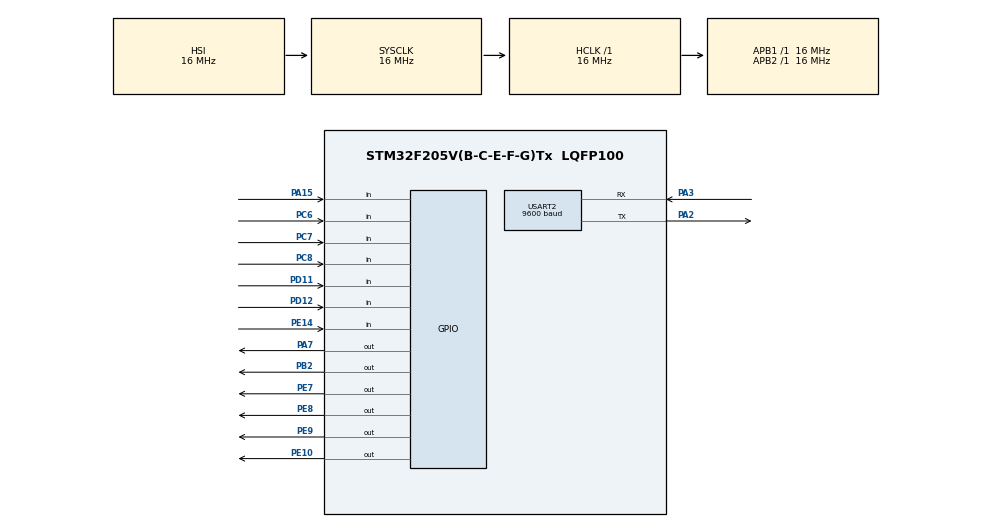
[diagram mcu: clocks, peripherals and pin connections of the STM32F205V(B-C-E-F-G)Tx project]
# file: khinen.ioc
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Mcu.Family=STM32F2
Mcu.Name=STM32F205V(B-C-E-F-G)Tx
Mcu.Package=LQFP100
NVIC.PriorityGroup=NVIC_PRIORITYGROUP_4
PA13.Mode=Serial_Wire
PA13.Signal=SYS_JTMS-SWDIO
PA14.Mode=Serial_Wire
PA14.Signal=SYS_JTCK-SWCLK
PA15.Signal=GPIO_Input
PA2.Mode=Asynchronous
PA2.Signal=USART2_TX
PA3.Mode=Asynchronous
PA3.Signal=USART2_RX
PA7.Signal=GPIO_Output
PB2.Signal=GPIO_Output
PC6.Signal=GPIO_Input
PC7.Signal=GPIO_Input
PC8.Signal=GPIO_Input
PD11.GPIO_PuPd=GPIO_PULLUP
PD11.Signal=GPIO_Input
PD12.Signal=GPIO_Input
PE10.GPIO_PuPd=GPIO_NOPULL
PE10.Signal=GPIO_Output
PE14.Signal=GPIO_Input
PE7.GPIO_PuPd=GPIO_NOPULL
PE7.Signal=GPIO_Output
PE8.GPIO_PuPd=GPIO_NOPULL
PE8.Signal=GPIO_Output
PE9.GPIO_PuPd=GPIO_NOPULL
PE9.Signal=GPIO_Output
ProjectManager.HeapSize=0x200
ProjectManager.StackSize=0x400
ProjectManager.TargetToolchain=MDK-ARM V5.32
RCC.48MHZClocksFreq_Value=48000000
RCC.AHBFreq_Value=16000000
RCC.APB1Freq_Value=16000000
RCC.APB2Freq_Value=16000000
RCC.CortexFreq_Value=16000000
RCC.HSE_VALUE=25000000
RCC.HSI_VALUE=16000000
RCC.LSE_VALUE=32768
RCC.SYSCLKFreq_VALUE=16000000
RCC.VCOOutputFreq_Value=192000000
USART2.BaudRate=9600
USART2.VirtualMode=VM_ASYNC
board=custom

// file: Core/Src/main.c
 /* USER CODE BEGIN Header */
/**
  ******************************************************************************
  * @file           : main.c
  * @brief          : Main program body
  ******************************************************************************
  * @attention
  *
  * Copyright (c) 2024 STMicroelectronics.
  * All rights reserved.
  *
  * This software is licensed under terms that can be found in the LICENSE file
  * in the root directory of this software component.
  * If no LICENSE file comes with this software, it is provided AS-IS.
  *
  ******************************************************************************
  */
/* USER CODE END Header */
#include "main.h"

/* USER CODE BEGIN Includes */
#include <stdio.h>
/* USER CODE END Includes */

UART_HandleTypeDef huart2;

void SystemClock_Config(void);
static void MX_GPIO_Init(void);
static void MX_USART2_UART_Init(void);

/* USER CODE BEGIN 0 */
uint8_t  State4 = 0,S3_check = 0, S4_check = 0,S1=1,S2=1,S3=1,S4=1,S5=0,dem=0,S1_check=0,S2_check=0,StateS1=0,StateS2=0,S5_check=0,S6_check=0;
uint16_t t=100,count=0,time=0,count1=0,count2=0,count3=0,time1=0,count4=0;
uint8_t State5=0,State6=0,k=0,State=0,State7=0;
char z[5];
void TIM1_Configuration(void) {
    // Enable TIM1 clock
    RCC->APB2ENR |= RCC_APB2ENR_TIM1EN;
    // Configure PSC (Prescaler)
    TIM1->PSC = 7;

    // Configure ARR (Auto-Reload Register)
    TIM1->ARR = 999;

    // Enable Update Interrupt
    TIM1->DIER |= TIM_DIER_UIE;

    // Enable TIM1 interrupt in NVIC
    NVIC_EnableIRQ(TIM1_UP_TIM10_IRQn);

    // Enable TIM1 counter
    TIM1->CR1 |= TIM_CR1_CEN;
}
volatile uint8_t i=0;
volatile	uint8_t x=10,y=10;
 	uint8_t dataread[10],dataread1[10];
	void sendchar(char data)
	{
	while((USART2 ->SR & (1<<6))==0 ){}
		USART2->DR = data;
	}
	void send_string(char *str)
	{
		while(*str)
		 sendchar(*str++);
	}

// Kh?i t?o UART2
uint8_t State3=0,State2=0,State1=0;
void TIM1_UP_TIM10_IRQHandler(void)
	{
    // Your TIM1 interrupt handler code here

    TIM1->SR &= ~TIM_SR_UIF;
		S1 = HAL_GPIO_ReadPin(GPIOB, GPIO_PIN_5);
	S2 = HAL_GPIO_ReadPin(GPIOB, GPIO_PIN_4);
	S3 = HAL_GPIO_ReadPin(GPIOB, GPIO_PIN_3);
	S4 = HAL_GPIO_ReadPin(GPIOD, GPIO_PIN_7);
	S5 = HAL_GPIO_ReadPin(GPIOD, GPIO_PIN_13);
	S1_check = HAL_GPIO_ReadPin(GPIOA, GPIO_PIN_15);
	S2_check = HAL_GPIO_ReadPin(GPIOC, GPIO_PIN_8);
	S3_check = HAL_GPIO_ReadPin(GPIOD, GPIO_PIN_11);
	S4_check = HAL_GPIO_ReadPin(GPIOC, GPIO_PIN_6);
	S5_check = HAL_GPIO_ReadPin(GPIOC, GPIO_PIN_7);
	S6_check = HAL_GPIO_ReadPin(GPIOE, GPIO_PIN_14);
		if ((State3 == 0) && (S3_check == 0))
				State3 = 1;
	if ((State3 == 1) && (S3_check != 0))
				State3 = 2;
	if(k==2)
		{
			if ((State3 == 0) && (S3_check == 0))
				State3 = 1;
	if ((State3 == 1) && (S3_check != 0))
				State3 = 2;
	if ((State3 == 2) && (S3_check == 0))
				State3 = 3;
	if ((State3 == 3) && (S3_check != 0))
				State3 = 0;

	if ((State4 == 0) && (S4_check == 0))
				State4 = 1;
	if ((State4 == 1) && (S4_check != 0))
				State4 = 2;
	if ((State4 == 2) && (S4_check == 0))
				State4 = 3;
	if ((State4 == 3) && (S4_check != 0))
				State4 = 0;

	if ((State5 == 0) && (S5_check == 0))
				State5 = 1;
	if ((State5 == 1) && (S5_check != 0))
				State5 = 2;
	if ((State5 == 2) && (S5_check == 0))
				State5 = 3;
	if ((State5 == 3) && (S5_check != 0))
				State5 = 0;

	if ((State6 == 0) && (S6_check == 0))
				State6 = 1;
	if ((State6 == 1) && (S6_check != 0))
				State6 = 0;

		}
if(State==1)
		{
			count2++;
	if (count2>1000)
		{
		HAL_GPIO_TogglePin(GPIOA,GPIO_PIN_7);
			count2=0;
		}
		}
		if (State==2)
			{
		count4++;
	if(count4>=500)
{
	HAL_GPIO_TogglePin(GPIOA,GPIO_PIN_7);
	HAL_GPIO_TogglePin(GPIOB,GPIO_PIN_2);
	count4=0;
}
		}

	if(k==1)
if(HAL_GPIO_ReadPin(GPIOC, GPIO_PIN_6)==0)
	 {
		 TIM3->CR1 &= ~TIM_CR1_CEN;
		HAL_GPIO_WritePin(GPIOE,GPIO_PIN_7,0);
	  HAL_GPIO_WritePin(GPIOE,GPIO_PIN_8,1);
	  HAL_GPIO_WritePin(GPIOE,GPIO_PIN_9,0);
	  HAL_GPIO_WritePin(GPIOE,GPIO_PIN_10,1);
		 State3=0;
		 State2=0;
		 State1=0;
		 dem=0;
		 State7=0;

	 }
	 if(k==1)
if(State3==9)
	 {
		 TIM3->CR1 &= ~TIM_CR1_CEN;
		HAL_GPIO_WritePin(GPIOE,GPIO_PIN_7,0);
	  HAL_GPIO_WritePin(GPIOE,GPIO_PIN_8,1);
	  HAL_GPIO_WritePin(GPIOE,GPIO_PIN_9,0);
	  HAL_GPIO_WritePin(GPIOE,GPIO_PIN_10,1);
		 State3=0;
		 State2=0;
		 State1=0;
		 State=0;
		 dem=0;
		 State7=0;

	 }

}
	void TIM3_Configuration(void) {
    // Enable TIM3 clock
    RCC->APB1ENR |= RCC_APB1ENR_TIM3EN;

    // Configure PSC (Prescaler)
    TIM3->PSC = 15;

    // Configure ARR (Auto-Reload Register)
    TIM3->ARR = 999;

    // Enable Update Interrupt
    TIM3->DIER |= TIM_DIER_UIE;

    // Enable TIM3 interrupt in NVIC
    NVIC_EnableIRQ(TIM3_IRQn);

    // Enable TIM3 counter
    TIM3->CR1 |= TIM_CR1_CEN;
}

void TIM3_IRQHandler(void) {
    // Your TIM3 interrupt handler code here

    TIM3->SR &= ~TIM_SR_UIF;
	//////////bai10
	if(State3==2)
		{
			count++;
	if (count>=2000)
	{
		HAL_GPIO_WritePin(GPIOE,GPIO_PIN_7,0);

		HAL_GPIO_WritePin(GPIOE,GPIO_PIN_8,1);

		State3=3;
		count=0;
		TIM3->CR1 &= ~TIM_CR1_CEN;

	}
	}
		if(State3==3)
		{
			count++;
	if (count>=2000)
	{
		HAL_GPIO_WritePin(GPIOE,GPIO_PIN_9,0);
		HAL_GPIO_WritePin(GPIOE,GPIO_PIN_10,1);

		State3=4;
		count=0;
		TIM3->CR1 &= ~TIM_CR1_CEN;

	}
	}
	if(State3==5)
		{
	count1++;
	if (count1==1000)
HAL_GPIO_WritePin(GPIOE,GPIO_PIN_7,1);
	if (count1==1500)
	{

		HAL_GPIO_WritePin(GPIOE,GPIO_PIN_8,1);
		HAL_GPIO_WritePin(GPIOE,GPIO_PIN_9,0);
		HAL_GPIO_WritePin(GPIOE,GPIO_PIN_10,1);

	}
	if(count1>=2000)
{
	HAL_GPIO_WritePin(GPIOE,GPIO_PIN_7,0);
	dem++;
		sprintf(z, "%d", dem);
        send_string(z);
				send_string(".");
		State3=2;
		State1=0;
		count1=0;
		State2=0;
		TIM3->CR1 &= ~TIM_CR1_CEN;
}

		}
	//////////bai10
	//////////////bai3
//	if(State3==2)
//		{
//			count++;
//	if (count>=2000)
//	{
//		HAL_GPIO_WritePin(GPIOE,GPIO_PIN_7,0);
//
//		HAL_GPIO_WritePin(GPIOE,GPIO_PIN_8,1);
//
//		State3=3;
//		count=0;
//		TIM3->CR1 &= ~TIM_CR1_CEN;
//
//	}
//	}
//		if(State3==3)
//		{
//			count++;
//	if (count>=2000)
//	{
//		HAL_GPIO_WritePin(GPIOE,GPIO_PIN_9,0);
//		HAL_GPIO_WritePin(GPIOE,GPIO_PIN_10,1);
//
//		State3=4;
//		count=0;
//		TIM3->CR1 &= ~TIM_CR1_CEN;
//
//	}
//	}
//	if(State3==5)
//		{
//	count1++;
//	if (count1==1000)
//HAL_GPIO_WritePin(GPIOE,GPIO_PIN_7,1);
//	if (count1==1500)
//	{
//
//		HAL_GPIO_WritePin(GPIOE,GPIO_PIN_8,1);
//		HAL_GPIO_WritePin(GPIOE,GPIO_PIN_9,0);
//		HAL_GPIO_WritePin(GPIOE,GPIO_PIN_10,1);
//
//
//	}
//	if(count1>=2000)
//{
//	HAL_GPIO_WritePin(GPIOE,GPIO_PIN_7,0);
//	dem++;
//		sprintf(z, "%d", dem);
//        send_string(z);
//				send_string(".");
//		State3=2;
//		State1=0;
//		count1=0;
//		State2=0;
//		TIM3->CR1 &= ~TIM_CR1_CEN;
//}
//
//		}
//////////bai3

	//////////////bai1
//    count++;
//	if (count>=2000)
//	{
//		HAL_GPIO_WritePin(GPIOE,GPIO_PIN_7,0);
//
//		HAL_GPIO_WritePin(GPIOE,GPIO_PIN_8,1);
//
//		HAL_GPIO_WritePin(GPIOE,GPIO_PIN_9,0);
//		HAL_GPIO_WritePin(GPIOE,GPIO_PIN_10,1);
//		State3=3;
//		count=0;
//		TIM3->CR1 &= ~TIM_CR1_CEN;
//
//	}
//	if(State3==4)
//		{
//	count1++;
//
//	if (count1>=2000)
//	{
//		HAL_GPIO_WritePin(GPIOE,GPIO_PIN_7,0);
//		HAL_GPIO_WritePin(GPIOE,GPIO_PIN_8,1);
//		HAL_GPIO_WritePin(GPIOE,GPIO_PIN_9,0);
//		HAL_GPIO_WritePin(GPIOE,GPIO_PIN_10,1);
//		dem++;
//		sprintf(z, "%d", dem);
//        send_string(z);
//				send_string(".");
//		State3=0;
//		State1=0;
//		count1=0;
//		State2=0;
//		TIM3->CR1 &= ~TIM_CR1_CEN;
//
//	}
//		}
		//////////bai1
}
void TIM2_Configuration(void) {
    // Enable TIM2 clock
    RCC->APB1ENR |= RCC_APB1ENR_TIM2EN;

    // Configure PSC (Prescaler)
    TIM2->PSC = 15;

    // Configure ARR (Auto-Reload Register)
    TIM2->ARR = 999;

    // Enable Update Interrupt
    TIM2->DIER |= TIM_DIER_UIE;

    // Enable TIM2 interrupt in NVIC
    NVIC_EnableIRQ(TIM2_IRQn);

    // Enable TIM2 counter
    TIM2->CR1 |= TIM_CR1_CEN;
}
void TIM2_IRQHandler(void) {

    TIM2->SR &= ~TIM_SR_UIF;
	count3++;

	if(count3==time)
		{
			State7=1;
			State=2;
			HAL_GPIO_WritePin(GPIOA,GPIO_PIN_7,0);
	    HAL_GPIO_WritePin(GPIOB,GPIO_PIN_2,1);
			TIM3->CR1 &= ~TIM_CR1_CEN;
		}
		if(State7==1 && S4_check==0 && count3<time1)
		{

			count3=0;
			TIM2->CR1 &= ~TIM_CR1_CEN;

		}
		if(State7==1  && count3>time1)
		{

			State7=0;
			count3=0;
			State=1;
			TIM3->CR1 |= TIM_CR1_CEN;
			TIM2->CR1 &= ~TIM_CR1_CEN;

		}

}
void timer1_start()
	{
		TIM1_Configuration();
	}
void timer2_start()
	{
		TIM2_Configuration();
	}
void timer3_start()
	{
		TIM3_Configuration();
	}
//	void USART2_IRQHandler (void)
//	{

//

//		 		if(USART2->DR == '.' )
//     {
//		 i=0;
//			 x=strcmp("START",dataread);
//		 if(x==0)
//			 {
//			 State3=2;
//				 State=1;
//		   }
//		 y=strncmp("STOP",dataread,4);
//		 if(y==0)
//		   State3=9;
//		 if(y>0 && x>0)
//			 {
//				 memcpy(dataread1, dataread, 4 * sizeof(int));
//		 time= atoi(dataread1);
//			 time1=time+10000;
//
//		 timer2_start();
//			 }
//    send_string(dataread);
//
//		 }
//		else
//		{
//
//		  dataread[i++] = USART2 -> DR ;
//
//		 }
//
//
//	}

void EXTI9_5_IRQHandler(void)
{
    // Check if EXTI6 interrupt occurred
    if(EXTI->PR & EXTI_PR_PR6)
    {
        // Your interrupt handling code here
			TIM3->CR1 &= ~TIM_CR1_CEN;
			count=0;
			State3=0;
    HAL_GPIO_WritePin(GPIOE,GPIO_PIN_7,1);
	  HAL_GPIO_WritePin(GPIOE,GPIO_PIN_8,1);
	  HAL_GPIO_WritePin(GPIOE,GPIO_PIN_9,1);
	  HAL_GPIO_WritePin(GPIOE,GPIO_PIN_10,1);

        // Clear EXTI6 pending bit
        EXTI->PR |= EXTI_PR_PR6;
    }
}
//	void Auto_3()
//{
//	k=1;
//	if( State3==2)
//	{
//		if (S5==1 && S3==0 && State2==0)
//		{
//			HAL_GPIO_WritePin(GPIOE,GPIO_PIN_9,1);
//		  HAL_GPIO_WritePin(GPIOE,GPIO_PIN_10,0);
//			HAL_GPIO_WritePin(GPIOE,GPIO_PIN_7,1);
//			State2=1;
//		}
//		if (S4==0 && State1==0)
//		{
//		  HAL_GPIO_WritePin(GPIOE,GPIO_PIN_8,0);
//			State1=1;
//  	  timer3_start();
//		}
//
//	}
//		 			 if(State3==3)
//						 {
//							 timer3_start();
//						 }
//		if(State3==4)
//		{
//			if(S3==0)
//			{
//
//	      HAL_GPIO_WritePin(GPIOE,GPIO_PIN_8,0);
//				State3=5;
//				timer3_start();
//
//			}
//
//		}
//
//
//
//
//	}
//

//	void Manual_3()
//{
//	k=2;
//	if( State3==2)
//		{
//			HAL_GPIO_WritePin(GPIOE,GPIO_PIN_9,1);
//			HAL_GPIO_WritePin(GPIOE,GPIO_PIN_10,0);
//	  }
//		if( State3==0)
//		{
//			HAL_GPIO_WritePin(GPIOE,GPIO_PIN_9,0);
//			HAL_GPIO_WritePin(GPIOE,GPIO_PIN_10,1);
//	  }
//	 if(State4==2)
//	 HAL_GPIO_WritePin(GPIOE,GPIO_PIN_8,0);
//	 if(State4==0)
//	 HAL_GPIO_WritePin(GPIOE,GPIO_PIN_8,1);
//	 if(State5==2)
//	 HAL_GPIO_WritePin(GPIOE,GPIO_PIN_7,0);
//	 if(State5==3)
//	 HAL_GPIO_WritePin(GPIOE,GPIO_PIN_7,1);
//	 if(State6==1)
//		{
//			State3=0,State4=0,State5=0;
//			HAL_GPIO_WritePin(GPIOE,GPIO_PIN_7,0);
//	  HAL_GPIO_WritePin(GPIOE,GPIO_PIN_8,1);
//	  HAL_GPIO_WritePin(GPIOE,GPIO_PIN_9,0);
//	  HAL_GPIO_WritePin(GPIOE,GPIO_PIN_10,1);
//
//		}
//
//
//}
//void BAI3()
//{
//
//	if ((StateS1 == 0) && (S1_check == 0))
//				StateS1 = 1;
//			if ((StateS1 == 1) && (S1_check != 0))
//				StateS1 = 0;
//
//			if ((StateS2 == 0) && (S2_check == 0))
//				StateS2 = 1;
//			if ((StateS2 == 1) && (S2_check != 0))
//				StateS2 = 0;
//
//			if( StateS1==1)
//			{
//			 HAL_GPIO_WritePin(GPIOB,GPIO_PIN_2,1);
//			 HAL_GPIO_WritePin(GPIOA,GPIO_PIN_7,0);
//				Manual_3();
//			}
//
//			if( StateS2==1)
//			{
//				HAL_GPIO_WritePin(GPIOA,GPIO_PIN_7,1);
//			HAL_GPIO_WritePin(GPIOB,GPIO_PIN_2,0);
//				Auto_3();
//			}
//}

void BAI10()
{
		k=1;
	if( State3==2 && State7==0 )
	{
		if (S5==0 && S3==0 && State2==0 && State7==0)
		{
			HAL_GPIO_WritePin(GPIOE,GPIO_PIN_9,1);
		  HAL_GPIO_WritePin(GPIOE,GPIO_PIN_10,0);
			HAL_GPIO_WritePin(GPIOE,GPIO_PIN_7,1);
			State2=1;
		}
		if (S4==0 && State1==0 && State7==0)
		{
		  HAL_GPIO_WritePin(GPIOE,GPIO_PIN_8,0);
			State1=1;
  	  timer3_start();
		}
  }
		 if(State3==3 && State7==0)
			{
			  timer3_start();
			}
		if(State3==4 && State7==0)
		{
			if(S3==0)
			{

	      HAL_GPIO_WritePin(GPIOE,GPIO_PIN_8,0);
				State3=5;
				timer3_start();

			}

		}
}
//void BAI1()
//{
//
//	if( State3==2)
//	{
//		if (S5==1 && S3==0 && State2==0)
//		{
//			HAL_GPIO_WritePin(GPIOE,GPIO_PIN_9,1);
//		  HAL_GPIO_WritePin(GPIOE,GPIO_PIN_10,0);
//			HAL_GPIO_WritePin(GPIOE,GPIO_PIN_7,1);
//			State2=1;
//		}
//		if (S4==0 && State1==0)
//		{
//		  HAL_GPIO_WritePin(GPIOE,GPIO_PIN_8,0);
//			State1=1;
//  	  timer3_start();
//		}
//
//	}
//
//		if(State3==3)
//		{
//			if(S3==0)
//			{
//				HAL_GPIO_WritePin(GPIOE,GPIO_PIN_7,1);
//	      HAL_GPIO_WritePin(GPIOE,GPIO_PIN_8,0);
//				State3=4;
//				timer3_start();
//
//			}
//
//		}
//
//}
/* USER CODE END 0 */

int main(void)
{

  /* MCU Configuration--------------------------------------------------------*/

  /* Reset of all peripherals, Initializes the Flash interface and the Systick. */
  HAL_Init();

  /* Configure the system clock */
  SystemClock_Config();

  /* Initialize all configured peripherals */
  MX_GPIO_Init();
  MX_USART2_UART_Init();
  /* USER CODE BEGIN 2 */

	USART2 -> BRR = (104 << 4) | (3<<0) ;
USART2 -> CR1 |= (1<<2) | (1<<3) ;
USART2 -> CR1 |= (1<<13) ;
//USART2 -> CR1 |= (1<<7) ;
 USART2 -> CR1 |= (1<<5) ;
 NVIC -> ISER[1] |= (1<<6) ;
// Enable GPIOC clock
//RCC->AHB1ENR |= RCC_AHB1ENR_GPIOCEN;

//// Configure PC6 as input
//RCC->AHB1ENR |= RCC_AHB1ENR_GPIOCEN;
//GPIOC->MODER &= ~(GPIO_MODER_MODE6_0 | GPIO_MODER_MODE6_1);
//GPIOC->PUPDR &= ~(GPIO_PUPDR_PUPD6_0 | GPIO_PUPDR_PUPD6_1);
//// Enable EXTI6 interrupt
//EXTI->IMR |= EXTI_IMR_MR6;

//// Configure trigger for EXTI6 (rising edge, falling edge, etc.)
//EXTI->RTSR |= EXTI_RTSR_TR6; // Rising edge

//// Enable NVIC interrupt for EXTI6
//NVIC_EnableIRQ(EXTI9_5_IRQn);

// No pull-up, pull-down
  /* USER CODE END 2 */

  /* Infinite loop */
  /* USER CODE BEGIN WHILE */
	uint8_t State1 = 0,State2 = 0, State3 = 0,State4 = 0;
	uint8_t S1_check = 0, S2_check = 0,S3_check = 0, S4_check = 0;

	  HAL_GPIO_WritePin(GPIOE,GPIO_PIN_7,0);
	  HAL_GPIO_WritePin(GPIOE,GPIO_PIN_8,1);
	  HAL_GPIO_WritePin(GPIOE,GPIO_PIN_9,0);
	  HAL_GPIO_WritePin(GPIOE,GPIO_PIN_10,1);
	TIM1_Configuration();
  while (1)
  {

		//BAI1();
		BAI10();
		//BAI3();
    /* USER CODE END WHILE */

  }
}

void SystemClock_Config(void)
{
  RCC_OscInitTypeDef RCC_OscInitStruct = {0};
  RCC_ClkInitTypeDef RCC_ClkInitStruct = {0};

  /** Initializes the RCC Oscillators according to the specified parameters
  * in the RCC_OscInitTypeDef structure.
  */
  RCC_OscInitStruct.OscillatorType = RCC_OSCILLATORTYPE_HSI;
  RCC_OscInitStruct.HSIState = RCC_HSI_ON;
  RCC_OscInitStruct.HSICalibrationValue = RCC_HSICALIBRATION_DEFAULT;
  RCC_OscInitStruct.PLL.PLLState = RCC_PLL_NONE;
  if (HAL_RCC_OscConfig(&RCC_OscInitStruct) != HAL_OK)
  {
    Error_Handler();
  }

  /** Initializes the CPU, AHB and APB buses clocks
  */
  RCC_ClkInitStruct.ClockType = RCC_CLOCKTYPE_HCLK|RCC_CLOCKTYPE_SYSCLK
                              |RCC_CLOCKTYPE_PCLK1|RCC_CLOCKTYPE_PCLK2;
  RCC_ClkInitStruct.SYSCLKSource = RCC_SYSCLKSOURCE_HSI;
  RCC_ClkInitStruct.AHBCLKDivider = RCC_SYSCLK_DIV1;
  RCC_ClkInitStruct.APB1CLKDivider = RCC_HCLK_DIV1;
  RCC_ClkInitStruct.APB2CLKDivider = RCC_HCLK_DIV1;

  if (HAL_RCC_ClockConfig(&RCC_ClkInitStruct, FLASH_LATENCY_0) != HAL_OK)
  {
    Error_Handler();
  }
}

static void MX_USART2_UART_Init(void)
{

  huart2.Instance = USART2;
  huart2.Init.BaudRate = 9600;
  huart2.Init.WordLength = UART_WORDLENGTH_8B;
  huart2.Init.StopBits = UART_STOPBITS_1;
  huart2.Init.Parity = UART_PARITY_NONE;
  huart2.Init.Mode = UART_MODE_TX_RX;
  huart2.Init.HwFlowCtl = UART_HWCONTROL_NONE;
  huart2.Init.OverSampling = UART_OVERSAMPLING_16;
  if (HAL_UART_Init(&huart2) != HAL_OK)
  {
    Error_Handler();
  }

}

static void MX_GPIO_Init(void)
{
  GPIO_InitTypeDef GPIO_InitStruct = {0};

  /* GPIO Ports Clock Enable */
  __HAL_RCC_GPIOA_CLK_ENABLE();
  __HAL_RCC_GPIOB_CLK_ENABLE();
  __HAL_RCC_GPIOE_CLK_ENABLE();
  __HAL_RCC_GPIOD_CLK_ENABLE();
  __HAL_RCC_GPIOC_CLK_ENABLE();

  /*Configure GPIO pin Output Level */
  HAL_GPIO_WritePin(GPIOA, GPIO_PIN_7, GPIO_PIN_RESET);

  /*Configure GPIO pin Output Level */
  HAL_GPIO_WritePin(GPIOB, GPIO_PIN_2, GPIO_PIN_RESET);

  /*Configure GPIO pin Output Level */
  HAL_GPIO_WritePin(GPIOE, GPIO_PIN_7|GPIO_PIN_8|GPIO_PIN_9|GPIO_PIN_10, GPIO_PIN_RESET);

  /*Configure GPIO pin : PA7 */
  GPIO_InitStruct.Pin = GPIO_PIN_7;
  GPIO_InitStruct.Mode = GPIO_MODE_OUTPUT_PP;
  GPIO_InitStruct.Pull = GPIO_NOPULL;
  GPIO_InitStruct.Speed = GPIO_SPEED_FREQ_LOW;
  HAL_GPIO_Init(GPIOA, &GPIO_InitStruct);

  /*Configure GPIO pin : PB2 */
  GPIO_InitStruct.Pin = GPIO_PIN_2;
  GPIO_InitStruct.Mode = GPIO_MODE_OUTPUT_PP;
  GPIO_InitStruct.Pull = GPIO_NOPULL;
  GPIO_InitStruct.Speed = GPIO_SPEED_FREQ_LOW;
  HAL_GPIO_Init(GPIOB, &GPIO_InitStruct);

  /*Configure GPIO pins : PE7 PE8 PE9 PE10 */
  GPIO_InitStruct.Pin = GPIO_PIN_7|GPIO_PIN_8|GPIO_PIN_9|GPIO_PIN_10;
  GPIO_InitStruct.Mode = GPIO_MODE_OUTPUT_PP;
  GPIO_InitStruct.Pull = GPIO_NOPULL;
  GPIO_InitStruct.Speed = GPIO_SPEED_FREQ_LOW;
  HAL_GPIO_Init(GPIOE, &GPIO_InitStruct);

  /*Configure GPIO pin : PE14 */
  GPIO_InitStruct.Pin = GPIO_PIN_14;
  GPIO_InitStruct.Mode = GPIO_MODE_INPUT;
  GPIO_InitStruct.Pull = GPIO_NOPULL;
  HAL_GPIO_Init(GPIOE, &GPIO_InitStruct);

  /*Configure GPIO pin : PD11 */
  GPIO_InitStruct.Pin = GPIO_PIN_11;
  GPIO_InitStruct.Mode = GPIO_MODE_INPUT;
  GPIO_InitStruct.Pull = GPIO_PULLUP;
  HAL_GPIO_Init(GPIOD, &GPIO_InitStruct);

  /*Configure GPIO pin : PD12 */
  GPIO_InitStruct.Pin = GPIO_PIN_12;
  GPIO_InitStruct.Mode = GPIO_MODE_INPUT;
  GPIO_InitStruct.Pull = GPIO_NOPULL;
  HAL_GPIO_Init(GPIOD, &GPIO_InitStruct);

  /*Configure GPIO pins : PC6 PC7 PC8 */
  GPIO_InitStruct.Pin = GPIO_PIN_6|GPIO_PIN_7|GPIO_PIN_8;
  GPIO_InitStruct.Mode = GPIO_MODE_INPUT;
  GPIO_InitStruct.Pull = GPIO_NOPULL;
  HAL_GPIO_Init(GPIOC, &GPIO_InitStruct);

  /*Configure GPIO pin : PA15 */
  GPIO_InitStruct.Pin = GPIO_PIN_15;
  GPIO_InitStruct.Mode = GPIO_MODE_INPUT;
  GPIO_InitStruct.Pull = GPIO_NOPULL;
  HAL_GPIO_Init(GPIOA, &GPIO_InitStruct);

}

void Error_Handler(void)
{
  __disable_irq();
  while (1)
  {
  }
}
